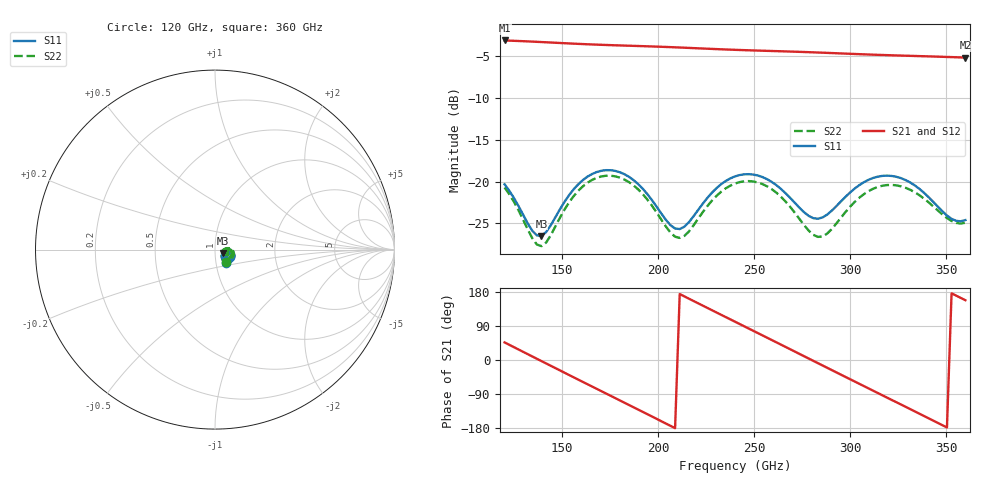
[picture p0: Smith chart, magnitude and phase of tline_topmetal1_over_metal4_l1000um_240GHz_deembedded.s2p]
! Created with skrf 2.0.1 (http://scikit-rf.org).
# GHz S DB R 50.0
!freq dBS11 angS11 dBS21 angS21 dBS12 angS12 dBS22 angS22
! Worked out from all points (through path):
!   101 points, 120 GHz to 360 GHz, reference 50 ohm
!   highest |S21| = -3.11 dB at 120 GHz (marker M1); lowest = -5.2 dB at 360 GHz (marker M2)
!   group delay of S21, straight-line fit = 7.04 ps
!   lowest |S11| = -26.5 dB at 139.2 GHz (marker M3), VSWR 1.10, Z = 54.5 - j2 ohm
!   |S11| at or under -10 dB: start of sweep to end of sweep
!   |S22| runs from -27.7 to -19.3 dB; largest |S21 - S12| = 6.9e-14
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120  -20.33 -50.4  -3.11 46.3  -3.11 46.3  -20.71 -47.7
129.6  -23.95 -51.1  -3.20 21.7  -3.20 21.7  -24.54 -49.3
139.2  -26.51 -22.7  -3.30 -2.9  -3.30 -2.9  -27.73 -19.0
148.8  -23.32 -1.1  -3.41 -27.4  -3.41 -27.4  -24.33 6.7
160.8  -19.81 -7.7  -3.54 -57.9  -3.54 -57.9  -20.56 0.8
170.4  -18.70 -20.6  -3.63 -82.2  -3.63 -82.2  -19.38 -12.0
180  -18.88 -34.5  -3.70 -106.5  -3.70 -106.5  -19.52 -25.8
192  -20.87 -48.0  -3.79 -137.0  -3.79 -137.0  -21.51 -39.5
201.6  -23.82 -47.7  -3.86 -161.5  -3.86 -161.5  -24.55 -39.7
211.2  -25.68 -26.1  -3.95 174.0  -3.95 174.0  -26.75 -17.4
218.4  -24.16 -10.3  -4.02 155.7  -4.02 155.7  -25.24 0.3
230.4  -20.78 -10.0  -4.14 125.3  -4.14 125.3  -21.70 1.7
240  -19.38 -20.1  -4.23 101.1  -4.23 101.1  -20.24 -8.4
256.8  -19.73 -40.8  -4.35 58.6  -4.35 58.6  -20.58 -29.8
268.8  -21.97 -48.2  -4.44 28.2  -4.44 28.2  -23.05 -38.8
280.8  -24.38 -36.0  -4.53 -2.2  -4.53 -2.2  -26.37 -25.9
288  -23.96 -22.7  -4.59 -20.5  -4.59 -20.5  -26.23 -7.4
302.4  -20.82 -18.3  -4.73 -56.9  -4.73 -56.9  -22.42 2.0
312  -19.56 -26.9  -4.81 -81.1  -4.81 -81.1  -20.85 -6.0
321.6  -19.33 -38.0  -4.88 -105.3  -4.88 -105.3  -20.40 -16.9
340.8  -21.85 -54.1  -5.01 -153.7  -5.01 -153.7  -22.47 -32.9
360  -24.61 -32.3  -5.16 157.7  -5.16 157.7  -24.93 -15.6
